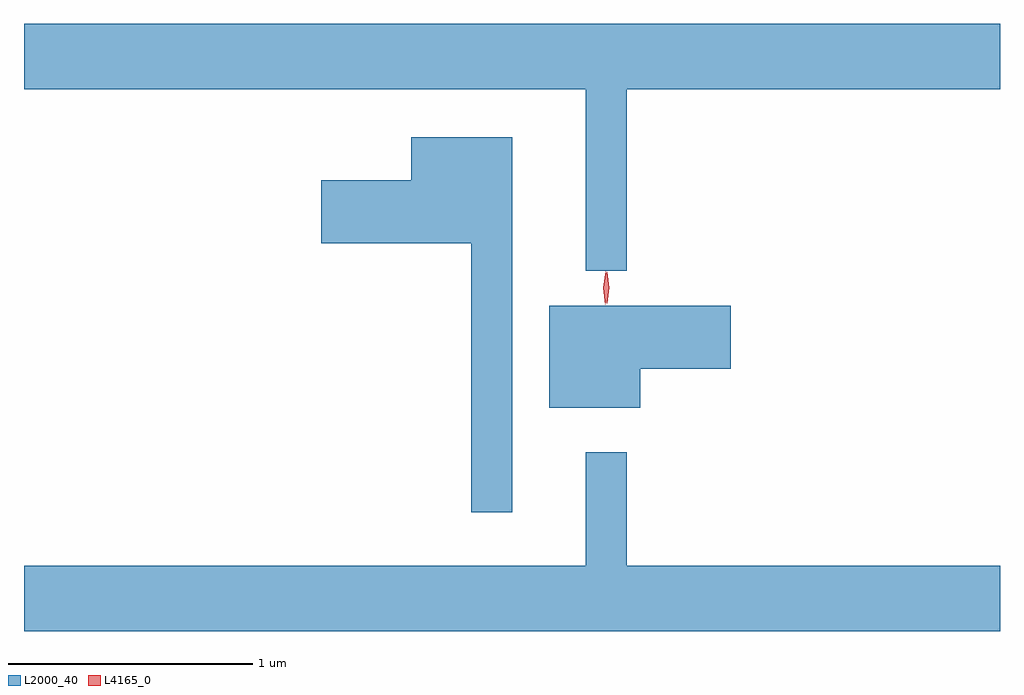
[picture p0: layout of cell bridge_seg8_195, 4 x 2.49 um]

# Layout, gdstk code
import gdstk
lib = gdstk.Library(unit=1e-6, precision=1e-09)
def P(c, l, *ps):  # polygons
    for p in ps: c.add(gdstk.Polygon(p, *l))
L2000_40 = (2000, 40)
L4165_0 = (4165, 0)

bridge_seg8_195 = lib.new_cell('bridge_seg8_195')
P(bridge_seg8_195, L2000_40, [(1165.599,1891.916),(1167.128,1891.916),(1167.128,1892.184),(1163.128,1892.184),(1163.128,1891.916),(1165.431,1891.916),(1165.431,1891.173),(1165.599,1891.173)],
  [(1165.129,1891.719),(1164.716,1891.719),(1164.716,1891.544),(1164.346,1891.544),(1164.346,1891.286),(1164.961,1891.286),(1164.961,1890.183),(1165.129,1890.183)],
  [(1165.654,1890.771),(1166.024,1890.771),(1166.024,1891.029),(1165.281,1891.029),(1165.281,1890.611),(1165.654,1890.611)],
  [(1167.128,1889.964),(1165.599,1889.964),(1165.599,1890.428),(1165.431,1890.428),(1165.431,1889.964),(1163.128,1889.964),(1163.128,1889.696),(1167.128,1889.696)])
P(bridge_seg8_195, L4165_0, [(1165.517,1891.04),(1165.517,1891.04),(1165.507,1891.103),(1165.517,1891.166),(1165.517,1891.167),(1165.518,1891.166),(1165.527,1891.103),(1165.518,1891.04)],
  [(1165.51,1891.034),(1165.51,1891.034),(1165.501,1891.102),(1165.512,1891.17),(1165.512,1891.17),(1165.512,1891.17),(1165.521,1891.102),(1165.511,1891.034)])

lib.write_gds('bridge_seg8_195.gds')
